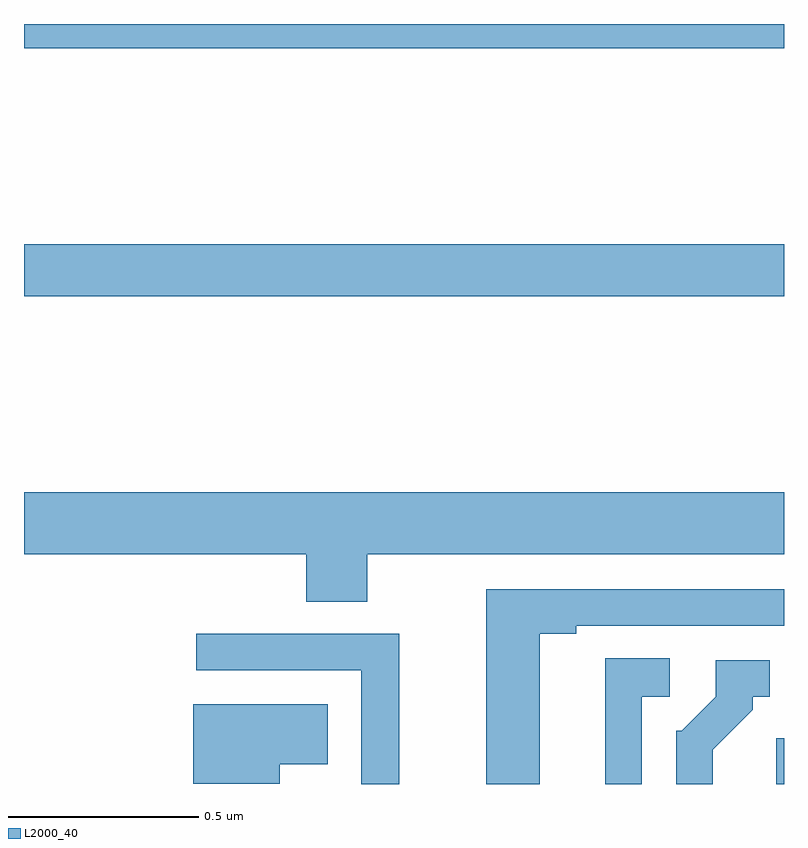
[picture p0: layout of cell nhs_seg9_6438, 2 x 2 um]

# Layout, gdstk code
import gdstk
lib = gdstk.Library(unit=1e-6, precision=1e-09)
def R(c, l, rs):  # rectangles x0, y0, x1, y1
    for r in rs: c.add(gdstk.rectangle(r[:2], r[2:], *l))
def P(c, l, *ps):  # polygons
    for p in ps: c.add(gdstk.Polygon(p, *l))
L2000_40 = (2000, 40)

nhs_seg9_6438 = lib.new_cell('nhs_seg9_6438')
R(nhs_seg9_6438, L2000_40, [(193.979,1178.5,194,1178.62), (192,1179.784,194,1179.92), (192,1180.436,194,1180.5)])
P(nhs_seg9_6438, L2000_40, [(192.903,1179.104),(194,1179.104),(194,1179.268),(192,1179.268),(192,1179.104),(192.743,1179.104),(192.743,1178.98),(192.903,1178.98)],
  [(193.357,1178.896),(193.453,1178.896),(193.453,1178.916),(194,1178.916),(194,1179.012),(193.217,1179.012),(193.217,1178.5),(193.357,1178.5)],
  [(192.987,1178.895),(192.453,1178.895),(192.453,1178.799),(192.888,1178.799),(192.888,1178.5),(192.987,1178.5)],
  [(193.626,1178.73),(193.699,1178.73),(193.699,1178.831),(193.529,1178.831),(193.529,1178.5),(193.626,1178.5)],
  [(193.813,1178.59),(193.918,1178.695),(193.918,1178.73),(193.963,1178.73),(193.963,1178.826),(193.821,1178.826),(193.821,1178.73),(193.731,1178.64),(193.716,1178.64),(193.716,1178.5),(193.813,1178.5)],
  [(192.673,1178.552),(192.799,1178.552),(192.799,1178.71),(192.446,1178.71),(192.446,1178.501),(192.673,1178.501)])

lib.write_gds('nhs_seg9_6438.gds')
